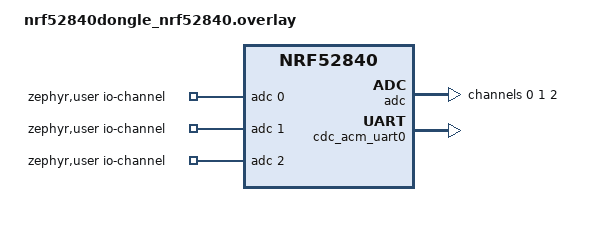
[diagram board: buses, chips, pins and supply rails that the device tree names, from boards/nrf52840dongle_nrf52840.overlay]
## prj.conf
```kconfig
#
# Copyright (c) 2018 Nordic Semiconductor
#
# SPDX-License-Identifier: LicenseRef-Nordic-5-Clause
#

# Logger module
CONFIG_LOG=y


# Enable USB device stack
CONFIG_USB_DEVICE_STACK=y
CONFIG_USB_CDC_ACM=y

# Enable CDC-ACM (virtual COM port)
CONFIG_USB_CDC_ACM=y


# Button and LED library
CONFIG_DK_LIBRARY=y


# Bluetooth LE
CONFIG_BT=y
CONFIG_BT_PERIPHERAL=y
CONFIG_BT_DEVICE_NAME="Arctic_Beacon"

CONFIG_ADC=y

# Increase stack size for the main thread and System Workqueue
CONFIG_SYSTEM_WORKQUEUE_STACK_SIZE=2048
CONFIG_MAIN_STACK_SIZE=2048
```

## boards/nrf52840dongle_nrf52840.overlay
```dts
/*
 * Copyright (c) 2021 Nordic Semiconductor ASA
 *
 * SPDX-License-Identifier: LicenseRef-Nordic-5-Clause
 */

/{
	zephyr,user {
		io-channels = <&adc 0>, <&adc 1>, <&adc 2>;
	};
};

/ {
	chosen {
		zephyr,console = &cdc_acm_uart0;
	};
};

&adc {
	status = "okay";
	#address-cells = <1>;
	#size-cells = <0>;

	channel@0 {
		reg = <0>;
		zephyr,gain = "ADC_GAIN_1_6";
		zephyr,reference = "ADC_REF_INTERNAL";
		zephyr,acquisition-time = <ADC_ACQ_TIME_DEFAULT>;
		zephyr,input-positive = <NRF_SAADC_AIN0>; /* P0.03 */
		zephyr,resolution = <12>;
	};

	channel@1 {
		reg = <1>;
		zephyr,gain = "ADC_GAIN_1_6";
		zephyr,reference = "ADC_REF_INTERNAL";
		zephyr,acquisition-time = <ADC_ACQ_TIME_DEFAULT>;
		zephyr,input-positive = <NRF_SAADC_AIN1>;
		zephyr,resolution = <12>;
		//zephyr,oversampling = <8>;
	};

	channel@2 {
		reg = <2>;
		zephyr,gain = "ADC_GAIN_1_6";
		zephyr,reference = "ADC_REF_INTERNAL";
		zephyr,acquisition-time = <ADC_ACQ_TIME_DEFAULT>;
		zephyr,input-positive = <NRF_SAADC_AIN2>;
		zephyr,resolution = <12>;
		//zephyr,oversampling = <8>;
	};


};

&zephyr_udc0 {
	cdc_acm_uart0: cdc_acm_uart0 {
		compatible = "zephyr,cdc-acm-uart";
	};
};
```

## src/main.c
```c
/*
 * Copyright (c) 2023 Nordic Semiconductor ASA
 *
 * SPDX-License-Identifier: LicenseRef-Nordic-5-Clause
 */

#include <zephyr/kernel.h>
#include <zephyr/logging/log.h>
#include <zephyr/bluetooth/bluetooth.h>
#include <zephyr/bluetooth/gap.h>
#include <zephyr/bluetooth/uuid.h>
#include <zephyr/bluetooth/conn.h>
#include <dk_buttons_and_leds.h>
#include "my_lbs.h"
#include "adc.h"

static const struct bt_le_adv_param *adv_param = BT_LE_ADV_PARAM(
	(BT_LE_ADV_OPT_CONN |
	 BT_LE_ADV_OPT_USE_IDENTITY), /* Connectable advertising and use identity address */
	800, /* Min Advertising Interval 500ms (800*0.625ms) */
	801, /* Max Advertising Interval 500.625ms (801*0.625ms) */
	NULL); /* Set to NULL for undirected advertising */

LOG_MODULE_REGISTER(Lesson4_Exercise2, LOG_LEVEL_INF);

#define DEVICE_NAME CONFIG_BT_DEVICE_NAME
#define DEVICE_NAME_LEN (sizeof(DEVICE_NAME) - 1)
#define USER_BUTTON DK_BTN1_MSK

#define STACKSIZE 1024
#define PRIORITY 7

/* Lähetä 33 millisekunnin välein (n. 30Hz) */
#define NOTIFY_INTERVAL 33 
static struct k_work adv_work;
static struct bt_conn *default_conn = NULL;


static const struct bt_data ad[] = {
	BT_DATA_BYTES(BT_DATA_FLAGS, (BT_LE_AD_GENERAL | BT_LE_AD_NO_BREDR)),
	BT_DATA(BT_DATA_NAME_COMPLETE, DEVICE_NAME, DEVICE_NAME_LEN),

};

static const struct bt_data sd[] = {
	BT_DATA_BYTES(BT_DATA_UUID128_ALL, BT_UUID_LBS_VAL),
};

static void adv_work_handler(struct k_work *work)
{
	int err = bt_le_adv_start(adv_param, ad, ARRAY_SIZE(ad), sd, ARRAY_SIZE(sd));

	if (err) {
		printk("Advertising failed to start (err %d)\n", err);
		return;
	}

	printk("Advertising successfully started\n");
}
static void advertising_start(void)
{
	k_work_submit(&adv_work);
}
static void recycled_cb(void)
{
	printk("Connection object available from previous conn. Disconnect is complete!\n");
	advertising_start();
}

static uint16_t app_button_cb(void)
{
	return button_state;
}

/* STEP 18.1 - Define the thread function  */
void send_data_thread(void)
{
	while (1) {
		/* Mittaa ADC-data*/
		struct Measurement m = readADCValue();
		/* Lähetä GATT-notifikaatiolla sensoridata. Erotteluksi X-akselin arvoon on lisätty 1*10^4,
		Y-akselille 2*10^4 ja Z-akselille 3*10^4*/
		my_lbs_send_sensor_notify(10000+m.x);
		k_sleep(K_MSEC(NOTIFY_INTERVAL));

		my_lbs_send_sensor_notify(20000+m.y);
		k_sleep(K_MSEC(NOTIFY_INTERVAL));

		my_lbs_send_sensor_notify(30000+m.z);
		k_sleep(K_MSEC(NOTIFY_INTERVAL));
	}
}

static struct my_lbs_cb app_callbacks = {
	.button_cb = app_button_cb,
};

static void button_changed(uint32_t button_state_mask, uint32_t has_changed)
{
    static bool last_button_state = false;

    if (has_changed & USER_BUTTON) {
        bool current_state = (button_state_mask & USER_BUTTON) ? true : false;

        // Only update state if it actually changed
        if (current_state != last_button_state) {
            last_button_state = current_state;

            // Update your counter/state only on press
            if (current_state) { // button pressed
                button_state++;
                if (button_state > 5) {
                    button_state = 0;
                }

                // Send the indication ONLY on press
                if (default_conn != NULL) {
                    my_lbs_send_button_state_indicate(default_conn);
                }
            }
        }
    }
}


static void on_connected(struct bt_conn *conn, uint8_t err)
{
    if (err) {
        printk("Connection failed (err %u)\n", err);
        return;
    }

    printk("Connected\n");

    // Keep a reference to the connected client
    default_conn = bt_conn_ref(conn);
}

static void on_disconnected(struct bt_conn *conn, uint8_t reason)
{
    if (default_conn) {
        bt_conn_unref(default_conn);
        default_conn = NULL;
    }
    printk("Disconnected (reason %u)\n", reason);
}


struct bt_conn_cb connection_callbacks = {
	.connected = on_connected,
	.disconnected = on_disconnected,
	.recycled = recycled_cb,
};

static int init_button(void)
{
	int err;

	err = dk_buttons_init(button_changed);
	if (err) {
		printk("Cannot init buttons (err: %d)\n", err);
	}

	return err;
}

int main(void)
{
	int err;

	LOG_INF("Starting Lesson 4 - Exercise 2 \n");

	if(initializeADC() != 0)
	{
	printk("ADC initialization failed!");
	return 1;
	}

	err = init_button();
	if (err) {
		printk("Button init failed (err %d)\n", err);
		return -1;
	}

	err = bt_enable(NULL);
	if (err) {
		LOG_ERR("Bluetooth init failed (err %d)\n", err);
		return -1;
	}
	bt_conn_cb_register(&connection_callbacks);

	err = my_lbs_init(&app_callbacks);
	if (err) {
		printk("Failed to init LBS (err:%d)\n", err);
		return -1;
	}
	LOG_INF("Bluetooth initialized\n");
	k_work_init(&adv_work, adv_work_handler);
	advertising_start();
}
/* STEP 18.2 - Define and initialize a thread to send data periodically */
K_THREAD_DEFINE(send_data_thread_id, STACKSIZE, send_data_thread, NULL, NULL, NULL, PRIORITY, 0, 0);
```

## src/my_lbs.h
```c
/*
 * Copyright (c) 2018 Nordic Semiconductor ASA
 *
 * SPDX-License-Identifier: LicenseRef-Nordic-5-Clause
 */

#ifndef BT_LBS_H_
#define BT_LBS_H_

/**@file
 * @defgroup bt_lbs LED Button Service API
 * @{
 * @brief API for the LED Button Service (LBS).
 */

#ifdef __cplusplus
extern "C" {
#endif

#include <zephyr/types.h>
#include "adc.h"

/** @brief LBS Service UUID. */
#define BT_UUID_LBS_VAL BT_UUID_128_ENCODE(0x00001523, 0x1212, 0xefde, 0x1523, 0x785feabcd123)

/** @brief Button Characteristic UUID. */
#define BT_UUID_LBS_BUTTON_VAL                                                                     \
	BT_UUID_128_ENCODE(0x00001524, 0x1212, 0xefde, 0x1523, 0x785feabcd123)

/* STEP 11.1 - Assign a UUID to the MYSENSOR characteristic */
/** @brief LED Characteristic UUID. */
#define BT_UUID_LBS_MYSENSOR_VAL                                                                   \
	BT_UUID_128_ENCODE(0x00001526, 0x1212, 0xefde, 0x1523, 0x785feabcd123)

#define BT_UUID_LBS BT_UUID_DECLARE_128(BT_UUID_LBS_VAL)
#define BT_UUID_LBS_BUTTON BT_UUID_DECLARE_128(BT_UUID_LBS_BUTTON_VAL)
#define BT_UUID_LBS_LED BT_UUID_DECLARE_128(BT_UUID_LBS_LED_VAL)
/* STEP 11.2 - Convert the array to a generic UUID */
#define BT_UUID_LBS_MYSENSOR BT_UUID_DECLARE_128(BT_UUID_LBS_MYSENSOR_VAL)
#define BT_GATT_CPF_FORMAT_UINT16 0x06

extern uint16_t button_state;


/** @brief Callback type for when the button state is pulled. */
typedef uint16_t (*button_cb_t)(void);

/** @brief Callback struct used by the LBS Service. */
struct my_lbs_cb {
	/** Button read callback. */
	button_cb_t button_cb;
};

/** @brief Initialize the LBS Service.
 *
 * This function registers application callback functions with the My LBS
 * Service
 *
 * @param[in] callbacks Struct containing pointers to callback functions
 *			used by the service. This pointer can be NULL
 *			if no callback functions are defined.
 *
 *
 * @retval 0 If the operation was successful.
 *           Otherwise, a (negative) error code is returned.
 */
int my_lbs_init(struct my_lbs_cb *callbacks);

/** @brief Send the button state as indication.
 *
 * This function sends a binary state, typically the state of a
 * button, to all connected peers.
 *
 * @param[in] button_state The state of the button.
 *
 * @retval 0 If the operation was successful.
 *           Otherwise, a (negative) error code is returned.
 */
int my_lbs_send_button_state_indicate(struct bt_conn *conn);

/** @brief Send the button state as notification.
 *
 * This function sends a binary state, typically the state of a
 * button, to all connected peers.
 *
 * @param[in] button_state The state of the button.
 *
 * @retval 0 If the operation was successful.
 *           Otherwise, a (negative) error code is returned.
 */
int my_lbs_send_button_state_notify(uint16_t button_state);

/** @brief Send the sensor value as notification.
 *
 * This function sends an uint32_t  value, typically the value
 * of a simulated sensor to all connected peers.
 *
 * @param[in] sensor_value The value of the simulated sensor.
 *
 * @retval 0 If the operation was successful.
 *           Otherwise, a (negative) error code is returned.
 */
int my_lbs_send_sensor_notify(uint16_t sensor_value);

#ifdef __cplusplus
}
#endif

/**
 * @}
 */

#endif /* BT_LBS_H_ */
```
